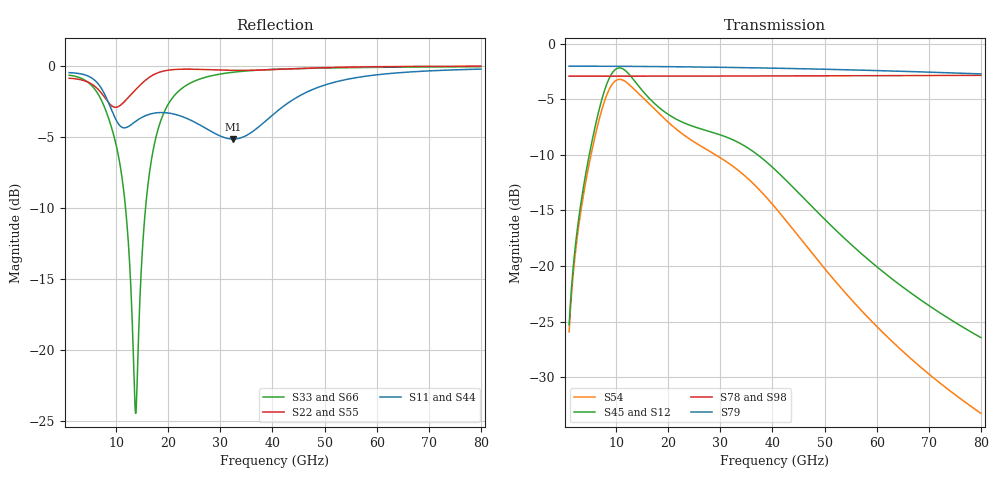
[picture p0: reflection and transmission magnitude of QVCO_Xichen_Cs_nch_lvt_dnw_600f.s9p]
! Touchstone Ver. 1.0
! Number of ports is 9
# Hz	S	RI	R	50.000000
! SCATTERING PARAMETERS  :
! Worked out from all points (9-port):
!   1001 points, 1 GHz to 80 GHz, reference 50 ohm
!   strongest paths, dB at 1 GHz, 20.75 GHz, 40.5 GHz, 60.25 GHz, 80 GHz:
!     S79: -2.0, -2.1, -2.2, -2.4, -2.7
!     S78: -2.9, -2.9, -2.9, -2.9, -2.9
!     S98: -2.9, -3.0, -3.0, -3.1, -3.2
!     S45: -25.3, -6.6, -11.3, -20.2, -26.4
!     S12: -25.3, -6.6, -11.3, -20.2, -26.4
!     S54: -25.9, -7.4, -14.7, -25.5, -33.2
!   lowest |S11| = -5.2 dB at 32.44 GHz (marker M1), VSWR 3.47, Z = 83.2 + j78.8 ohm
!   |S11| at or under -10 dB: nowhere
